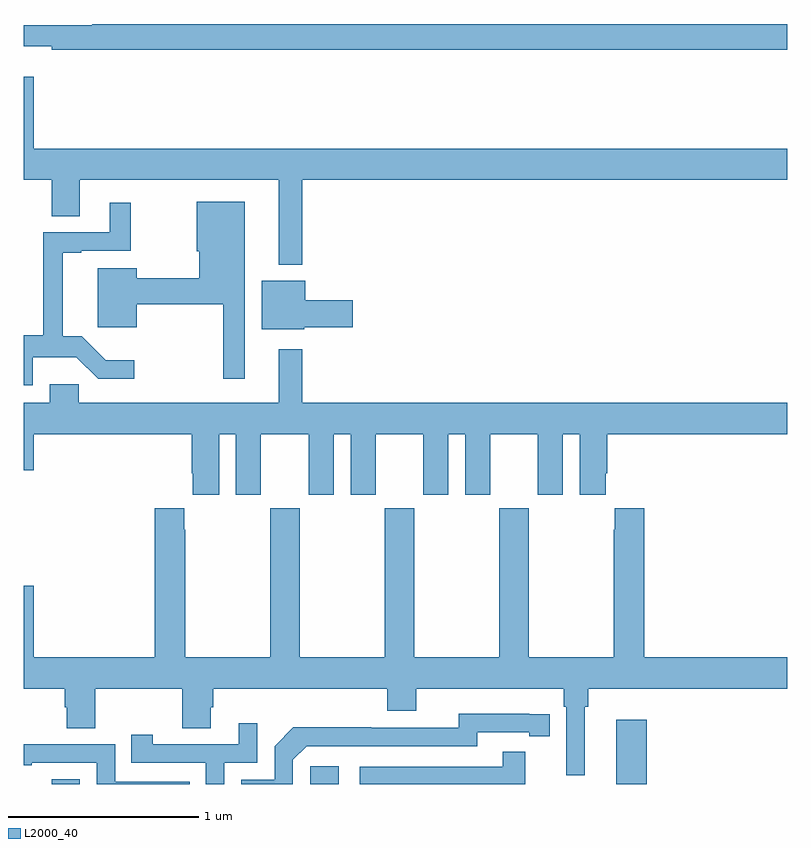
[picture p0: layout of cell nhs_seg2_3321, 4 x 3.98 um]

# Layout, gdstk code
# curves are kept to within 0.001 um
import gdstk
lib = gdstk.Library(unit=1e-6, precision=1e-09)
def R(c, l, rs):  # rectangles x0, y0, x1, y1
    for r in rs: c.add(gdstk.rectangle(r[:2], r[2:], *l))
def P(c, l, *ps):  # polygons
    for p in ps: c.add(gdstk.Polygon(p, *l))
L2000_40 = (2000, 40)

nhs_seg2_3321 = lib.new_cell('nhs_seg2_3321')
R(nhs_seg2_3321, L2000_40, [(285.147,649.8,285.294,649.825), (286.5,649.8,286.651,649.894), (288.104,649.8,288.263,650.137)])
P(nhs_seg2_3321, L2000_40, [(289,653.78),(285.359,653.78),(285.359,653.773),(285,653.773),(285,653.663),(285.148,653.663),(285.148,653.644),(289,653.644)],
  [(286.459,652.964),(289,652.964),(289,653.128),(285.052,653.128),(285.052,653.503),(285,653.503),(285,652.964),(285.148,652.964),(285.148,652.774),(285.295,652.774),(285.295,652.964),(286.337,652.964),(286.337,652.52),(286.459,652.52)],
  [(286.159,652.849),(285.908,652.849),(285.908,652.59),(285.92,652.59),(285.92,652.448),(285.592,652.448),(285.592,652.501),(285.389,652.501),(285.389,652.191),(285.592,652.191),(285.592,652.312),(286.045,652.312),(286.045,651.921),(286.159,651.921)],
  [(285.048,652.034),(285.277,652.034),(285.39,651.921),(285.58,651.921),(285.58,652.018),(285.431,652.018),(285.305,652.144),(285.206,652.144),(285.206,652.581),(285.301,652.581),(285.301,652.593),(285.562,652.593),(285.562,652.843),(285.452,652.843),(285.452,652.689),(285.103,652.689),(285.103,652.151),(285,652.151),(285,651.888),(285.048,651.888)],
  [(286.47,652.192),(286.723,652.192),(286.723,652.334),(286.474,652.334),(286.474,652.435),(286.247,652.435),(286.247,652.181),(286.47,652.181)],
  [(286.024,651.632),(286.112,651.632),(286.112,651.315),(286.243,651.315),(286.243,651.632),(286.493,651.632),(286.493,651.315),(286.624,651.315),(286.624,651.632),(286.712,651.632),(286.712,651.315),(286.843,651.315),(286.843,651.632),(287.093,651.632),(287.093,651.315),(287.224,651.315),(287.224,651.632),(287.312,651.632),(287.312,651.315),(287.443,651.315),(287.443,651.632),(287.693,651.632),(287.693,651.315),(287.824,651.315),(287.824,651.632),(287.912,651.632),(287.912,651.315),(288.049,651.315),(288.049,651.427),(288.056,651.427),(288.056,651.632),(289,651.632),(289,651.796),(286.459,651.796),(286.459,652.078),(286.337,652.078),(286.337,651.796),(285.289,651.796),(285.289,651.894),(285.137,651.894),(285.137,651.796),(285,651.796),(285,651.444),(285.052,651.444),(285.052,651.632),(285.881,651.632),(285.881,651.427),(285.887,651.427),(285.887,651.315),(286.024,651.315)],
  [(287.046,651.244),(286.891,651.244),(286.891,650.464),(286.446,650.464),(286.446,651.244),(286.291,651.244),(286.291,650.464),(285.846,650.464),(285.846,651.131),(285.841,651.131),(285.841,651.244),(285.686,651.244),(285.686,650.464),(285.052,650.464),(285.052,650.839),(285,650.839),(285,650.3),(285.215,650.3),(285.215,650.202),(285.227,650.202),(285.227,650.092),(285.375,650.092),(285.375,650.3),(285.832,650.3),(285.832,650.092),(285.979,650.092),(285.979,650.202),(285.992,650.202),(285.992,650.3),(286.904,650.3),(286.904,650.183),(287.056,650.183),(287.056,650.3),(287.828,650.3),(287.828,650.204),(287.841,650.204),(287.841,649.845),(287.938,649.845),(287.938,650.204),(287.957,650.204),(287.957,650.3),(289,650.3),(289,650.464),(288.251,650.464),(288.251,651.244),(288.095,651.244),(288.095,651.131),(288.091,651.131),(288.091,650.464),(287.646,650.464),(287.646,651.244),(287.491,651.244),(287.491,650.464),(287.046,650.464)],
  [(286.41,649.926),(286.482,649.998),(287.376,649.998),(287.376,650.07),(287.648,650.07),(287.648,650.05),(287.756,650.05),(287.756,650.166),(287.28,650.167),(287.28,650.094),(286.82,650.094),(286.82,650.096),(286.412,650.096),(286.314,649.998),(286.314,649.821),(286.14,649.821),(286.14,649.8),(286.41,649.8)],
  [(286.05,649.911),(286.224,649.911),(286.224,650.119),(286.127,650.119),(286.127,650.007),(285.676,650.007),(285.676,650.059),(285.565,650.059),(285.565,649.911),(285.954,649.911),(285.954,649.8),(286.05,649.8)],
  [(285.869,649.812),(285.48,649.812),(285.48,650.007),(285,650.007),(285,649.899),(285.043,649.899),(285.043,649.911),(285.384,649.911),(285.384,649.8),(285.869,649.8)],
  [(287.627,649.969),(287.509,649.969),(287.509,649.89),(286.761,649.89),(286.761,649.8),(287.627,649.8)])

lib.write_gds('nhs_seg2_3321.gds')
